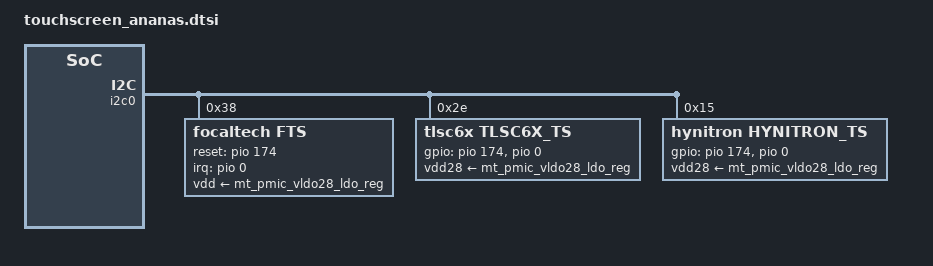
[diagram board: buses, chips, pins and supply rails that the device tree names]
&i2c0 {
	status = "okay";

	focaltech@38 {
		compatible = "focaltech,fts";
		reg = <0x38>;
		focaltech,reset-gpio = <&pio 174 0x00>;
		focaltech,irq-gpio = <&pio 0 0x2002>;
		vdd-supply = <&mt_pmic_vldo28_ldo_reg>;
		focaltech,display-coords = <0 0 719 1439>;
		focaltech,max-touch-number = <2>;
	};

	tlsc6x_ts@2e {
		compatible = "tlsc6x,tlsc6x_ts";
		reg = <0x2e>;
		gpios = <&pio 174 0
			&pio 0 0>;
		vdd_name = "vdd28";
		vdd28-supply = <&mt_pmic_vldo28_ldo_reg>;
		TP_MAX_X = <719>;
		TP_MAX_Y = <1439>;
	};

	hynitron_ts@15 {
		compatible = "hynitron,hynitron_ts";
		reg = <0x15>;
		gpios = <&pio 174 0
			&pio 0 0>;
		vdd_name    = "vdd28";
		vdd28-supply = <&mt_pmic_vldo28_ldo_reg>;
		TP_MAX_X = <719>;
		TP_MAX_Y = <1439>;
	};
};
